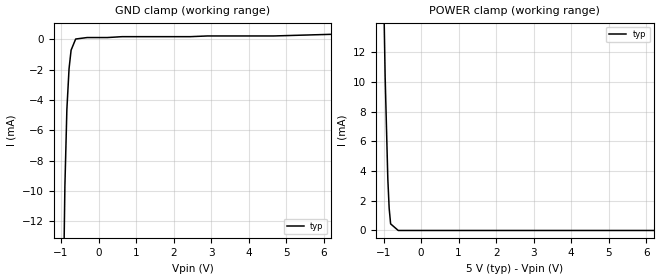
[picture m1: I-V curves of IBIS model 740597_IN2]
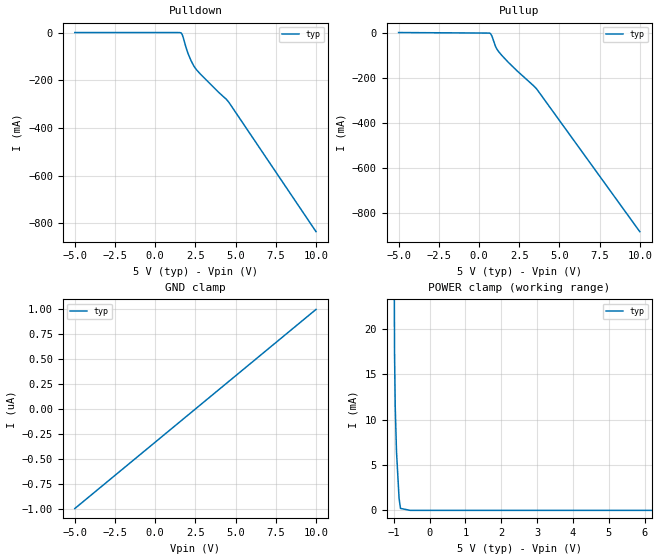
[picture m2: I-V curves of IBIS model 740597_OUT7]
| COPYRIGHT(C) MENTOR GRAPHICS CORPORATION 2001 ALL
| RIGHTS RESERVED. THIS WORK CONTAINS PROPRIETARY
| INFORMATION WHICH IS THE PROPERTY OF MENTOR GRAPHICS
| CORPORATION OR ITS LICENSORS. USE OF THESE MATERIALS
| IS SUBJECT TO THE TERMS BELOW.
| USE: YOU MAY USE IBIS MODELS SOLELY FOR DEVELOPING
| PRINTED CIRCUIT BOARD DESIGNS. NO OTHER USE OR
| DISTRIBUTION OF THESE MATERIALS IS PERMITTED.
| DISCLAIMER OF WARRANTY:  UNLESS OTHERWISE AGREED
| IN WRITING, MENTOR GRAPHICS SOFTWARE AND ASSOCIATED
| FILES ARE PROVIDED "AS IS" AND WITHOUT WARRANTY.
| MENTOR GRAPHICS HAS NO OBLIGATION TO SUPPORT OR
| OTHERWISE MAINTAIN SOFTWARE.  MENTOR GRAPHICS MAKES
| NO WARRANTIES, EXPRESS OR IMPLIED WITH RESPECT TO
| SOFTWARE INCLUDING ANY WARRANTY OF MERCHANTABILITY
| OR FITNESS FOR A PARTICULAR PURPOSE.
| LIMITATION OF LIABILITY:  MENTOR GRAPHICS IS NOT LIABLE FOR
| ANY PROPERTY DAMAGE, PERSONAL INJURY, LOSS OF PROFITS,
| INTERRUPTION OF BUSINESS, OR FOR ANY OTHER SPECIAL,
| CONSEQUENTIAL OR INCIDENTAL DAMAGES, HOWEVER CAUSED,
| WHETHER FOR BREACH OF WARRANTY, CONTRACT, TORT
| (INCLUDING NEGLIGENCE), STRICT LIABILITY OR OTHERWISE. IN NO
| EVENT SHALL MENTOR GRAPHICS' LIABILITY EXCEED THE AMOUNT
| PAID FOR THE PRODUCT GIVING RISE TO THE CLAIM.
| TRADEMARKS:  THE FOLLOWING ARE REGISTERED TRADEMARKS
| OR SERVICE MARKS OF MENTOR GRAPHICS CORPORATION:
| ICX, ICX STANDARD LIBRARY, ICX PROJECT MODELING,
| AND ICX CUSTOM MODELING.  THE FOLLOWING ARE TRADEMARKS
| OR SERVICE MARKS OF MENTOR GRAPHICS CORPORATION:
| QUALITYIBIS, MODELVIEWER, AND MODELEDITOR. ALL OTHER
| BRANDS AND PRODUCT NAMES ARE TRADEMARKS OF THEIR
| RESPECTIVE OWNERS.
| COPIES:  ALL COPIES OF SOFTWARE, INCLUDING BUT NOT LIMITED
| TO ANY MODIFICATIONS, ENHANCEMENTS OR DERIVATIVE WORKS
| MUST CONTAIN ALL MENTOR GRAPHICS' NOTICES AND LEGENDS,
| INCLUDING THOSE EMBEDDED IN SOFTWARE AND THOSE AFFIXED
| TO THE SOFTWARE MEDIUM AND CONTAINER, AS RECEIVED FROM
| MENTOR GRAPHICS.
[IBIS Ver] 3.1
[File Name] mc10el01d_pecl.ibs
[File Rev] 2.0
[Source] Measured and created by ICX Technology
[Date] Wednesday 11/28/01 3:48:35 PM
[Copyright]
| COPYRIGHT(C) MENTOR GRAPHICS CORPORATION 2001 ALL
| RIGHTS RESERVED. THIS WORK CONTAINS PROPRIETARY
| INFORMATION WHICH IS THE PROPERTY OF MENTOR GRAPHICS
| CORPORATION OR ITS LICENSORS. USE OF THESE MATERIALS
| IS SUBJECT TO THE TERMS BELOW.
| USE: YOU MAY USE IBIS MODELS SOLELY FOR DEVELOPING
| PRINTED CIRCUIT BOARD DESIGNS. NO OTHER USE OR
| DISTRIBUTION OF THESE MATERIALS IS PERMITTED.
|  ZAP Model Builder 3.2
[Component] MC10EL01D_PECL
[Manufacturer] OnSemiconductor
[Package]
| variable   typ   min   max
R_pkg  .152ohms NA NA
L_pkg  2.714nH NA NA
C_pkg  .364pF NA NA
[Pin] signal_name  model_name  R_pin  L_pin C_pin
1 D0 740597_IN2 .154 2.924n .374p
2 D1 740597_IN2 .15 2.504n .354p
3 D2 740597_IN2 .15 2.504n .354p
4 D3 740597_IN2 .154 2.924n .374p
5 VEE GND .154 2.924n .374p
6 _Q 740597_OUT7 .15 2.504n .354p
7 Q 740597_OUT7 .15 2.504n .354p
8 VCC POWER .154 2.924n .374p
[Diff Pin] inv_pin vdiff tdelay_typ tdelay_min tdelay_max
6 7 NA 0.03ns NA NA
| Models and submodels in the file (2): 740597_IN2 (Input_ECL), 740597_OUT7 (Output_ECL)
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| COPYRIGHT(C) MENTOR GRAPHICS CORPORATION 2001 ALL
| RIGHTS RESERVED. THIS WORK CONTAINS PROPRIETARY
| INFORMATION WHICH IS THE PROPERTY OF MENTOR GRAPHICS
| CORPORATION OR ITS LICENSORS. USE OF THESE MATERIALS
| IS SUBJECT TO THE TERMS BELOW.
| USE: YOU MAY USE IBIS MODELS SOLELY FOR DEVELOPING
| PRINTED CIRCUIT BOARD DESIGNS. NO OTHER USE OR
| DISTRIBUTION OF THESE MATERIALS IS PERMITTED.
| Model Application Version 1.89 2/18/99.
[Model] 740597_IN2
Model_type Input_ECL
Vinl = 3.520V
Vinh = 3.830V
C_comp 800.0fF NA NA
| variable typ   min   max
[Voltage Range] 5.000V NA NA
[GND Clamp Reference] 0.000V NA NA
[POWER Clamp Reference] 5.000V NA NA
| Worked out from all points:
|   GND clamp passes 1 mA (typ) near -0.74 V on its own axis
|   POWER clamp passes 1 mA (typ) near -0.83 V on its own axis
[GND Clamp]
-5V       -1.347A    NA         NA
-1.016V   -30.66mA   NA         NA
-897.4mV  -9.714mA   NA         NA
-844.5mV  -4.633mA   NA         NA
-786.3mV  -1.93mA    NA         NA
-731.8mV  -712.7uA   NA         NA
-610.3mV  20.59uA    NA         NA
-305.2mV  117.6uA    NA         NA
626mV     175.4uA    NA         NA
4.67V     222.3uA    NA         NA
10V       599.4uA    NA         NA
[POWER Clamp]
-5V       1.663A     NA         NA
-1.25V    73.98mA    NA         NA
-1.128V   37.82mA    NA         NA
-1.062V   25.47mA    NA         NA
-957mV    10.35mA    NA         NA
-886mV    3.487mA    NA         NA
-850mV    1.494mA    NA         NA
-811mV    443.6uA    NA         NA
-608.2mV  0A         NA         NA
10V       0A         NA         NA
| COPYRIGHT(C) MENTOR GRAPHICS CORPORATION 2001 ALL
| RIGHTS RESERVED. THIS WORK CONTAINS PROPRIETARY
| INFORMATION WHICH IS THE PROPERTY OF MENTOR GRAPHICS
| CORPORATION OR ITS LICENSORS. USE OF THESE MATERIALS
| IS SUBJECT TO THE TERMS BELOW.
| USE: YOU MAY USE IBIS MODELS SOLELY FOR DEVELOPING
| PRINTED CIRCUIT BOARD DESIGNS. NO OTHER USE OR
| DISTRIBUTION OF THESE MATERIALS IS PERMITTED.
| Model Application Version 1.89 2/18/99.
[Model] 740597_OUT7
Model_type Output_ECL
Vref=3.000V
Rref=50.00ohms
Cref=0.000F
Vmeas=3.620V
C_comp 800.0fF NA NA
| variable typ   min   max
[Voltage Range] 5.000V NA NA
[POWER Clamp Reference] 5.000V NA NA
[Pullup Reference] 5.000V NA NA
[Pulldown Reference] 5.000V NA NA
[GND Clamp Reference] 0.000V NA NA
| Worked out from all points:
|   POWER clamp passes 1 mA (typ) near -0.84 V on its own axis
[GND Clamp]
-5V       -1uA       NA         NA
10V       1uA        NA         NA
[Pulldown]
-5V       132.5uA    NA         NA
1.192V    132.5uA    NA         NA
1.63V     -3.073mA   NA         NA
1.733V    -18.81mA   NA         NA
1.905V    -60.23mA   NA         NA
2.033V    -86.58mA   NA         NA
2.221V    -117.1mA   NA         NA
2.412V    -141.6mA   NA         NA
2.798V    -173.4mA   NA         NA
4.588V    -293.4mA   NA         NA
10V       -835.2mA   NA         NA
[Pullup]
-5V       2.326mA    NA         NA
723mV     -2.666mA   NA         NA
810mV     -14.08mA   NA         NA
1.035V    -60.78mA   NA         NA
1.25V     -85.07mA   NA         NA
1.799V    -128.6mA   NA         NA
3.589V    -249.2mA   NA         NA
10V       -885mA     NA         NA
[POWER Clamp]
-5V       1.417A     NA         NA
-1.217V   173.4mA    NA         NA
-1.125V   132.2mA    NA         NA
-1.04V    80.57mA    NA         NA
-976mV    17.17mA    NA         NA
-957mV    11.38mA    NA         NA
-922mV    6.494mA    NA         NA
-850mV    1.333mA    NA         NA
-811mV    215.4uA    NA         NA
-540.7mV  0A         NA         NA
10V       0A         NA         NA
[Ramp]
| variable typ min max
dV/dt_r 334.4m/275.8p NA NA
dV/dt_f 334.4m/179.0p NA NA
R_load = 50.00Ohms
